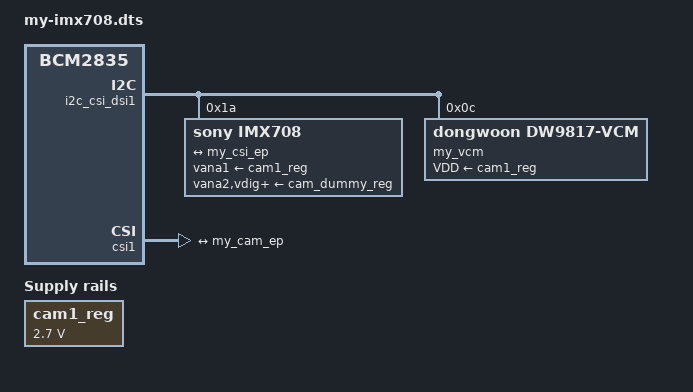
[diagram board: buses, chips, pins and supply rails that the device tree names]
/dts-v1/;
/plugin/;

/ {
    compatible = "brcm,bcm2835";  /* 원본과 같은 값 */

    /* 1. 센서 클럭 켜기 */
    fragment@0 {
        target = <&cam1_clk>;
        __overlay__ {
            status = "okay";
            clock-frequency = <24000000>;
        };
    };

    /* 2. 전원 스위치 - 켤 때 기다리는 시간 */
    fragment@1 {
        target = <&cam1_reg>;
        __overlay__ {
            startup-delay-us = <70000>;
            off-on-delay-us = <30000>;
            regulator-min-microvolt = <2700000>;
            regulator-max-microvolt = <2700000>;
        };
    };

    /* 3. CAM1의 I2C 버스에 센서와 렌즈 모터 */
    fragment@2 {
        target = <&i2c_csi_dsi1>;
        __overlay__ {
            #address-cells = <1>;
            #size-cells = <0>;
            status = "okay";

            imx708@1a {
                compatible = "sony,imx708";
                reg = <0x1a>;
                clocks = <&cam1_clk>;
                clock-names = "inclk";
                vana1-supply = <&cam1_reg>;
                vana2-supply = <&cam_dummy_reg>;
                vdig-supply = <&cam_dummy_reg>;
                vddl-supply = <&cam_dummy_reg>;
                rotation = <180>;
                orientation = <2>;
                lens-focus = <&my_vcm>;

                port {
                    my_cam_ep: endpoint {
                        clock-lanes = <0>;
                        data-lanes = <1 2>;
                        clock-noncontinuous;
                        link-frequencies = /bits/ 64 <450000000>;
                        remote-endpoint = <&my_csi_ep>;
                    };
                };
            };

            my_vcm: dw9817@c {
                compatible = "dongwoon,dw9817-vcm";
                reg = <0x0c>;
                VDD-supply = <&cam1_reg>;
            };
        };
    };

    /* 4. CAM1의 CSI-2 수신기를 켜고 센서와 서로 가리키게 */
    fragment@3 {
        target = <&csi1>;
        __overlay__ {
            status = "okay";
            port {
                my_csi_ep: endpoint {
                    remote-endpoint = <&my_cam_ep>;
                    clock-lanes = <0>;
                    data-lanes = <1 2>;
                    clock-noncontinuous;
                };
            };
        };
    };
};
